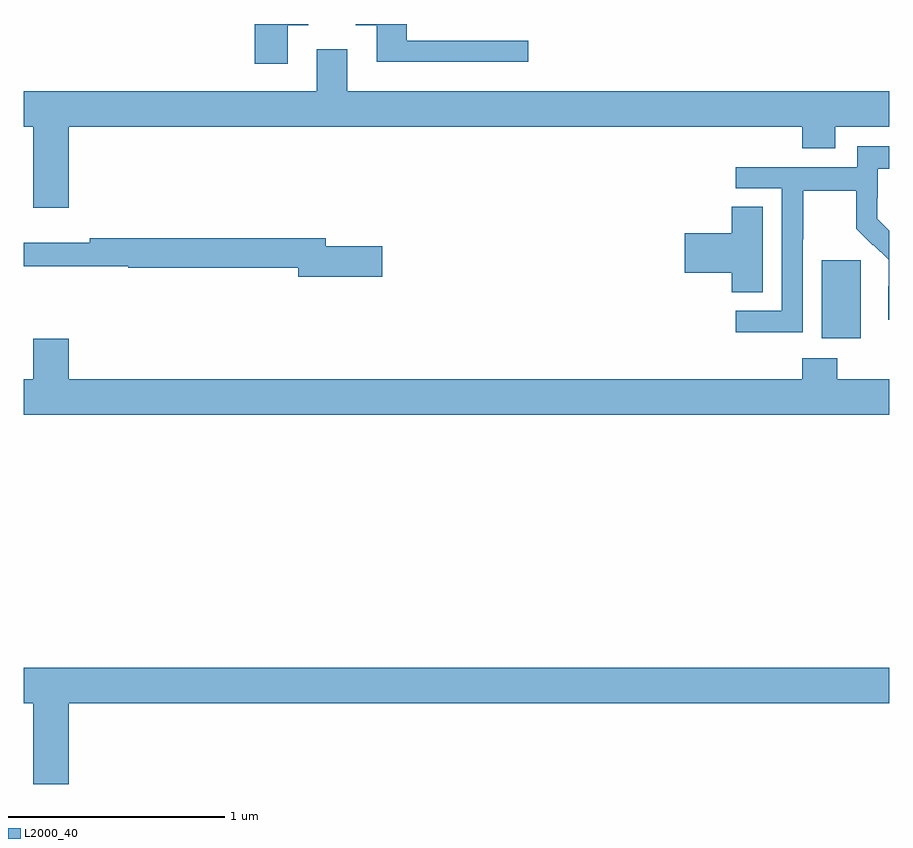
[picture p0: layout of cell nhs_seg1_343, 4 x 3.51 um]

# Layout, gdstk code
import gdstk
lib = gdstk.Library(unit=1e-6, precision=1e-09)
def R(c, l, rs):  # rectangles x0, y0, x1, y1
    for r in rs: c.add(gdstk.rectangle(r[:2], r[2:], *l))
def P(c, l, *ps):  # polygons
    for p in ps: c.add(gdstk.Polygon(p, *l))
L2000_40 = (2000, 40)

nhs_seg1_343 = lib.new_cell('nhs_seg1_343')
R(nhs_seg1_343, L2000_40, [(132.689,558.746,132.868,559.107)])
P(nhs_seg1_343, L2000_40, [(130.219,560.193),(130.315,560.193),(130.315,560.199),(130.067,560.199),(130.067,560.016),(130.219,560.016)],
  [(131.332,560.121),(130.771,560.121),(130.771,560.199),(130.535,560.199),(130.535,560.193),(130.631,560.193),(130.631,560.024),(131.332,560.024)],
  [(129.208,559.724),(132.599,559.724),(132.599,559.625),(132.751,559.625),(132.751,559.724),(133,559.724),(133,559.888),(130.495,559.888),(130.495,560.083),(130.355,560.083),(130.355,559.888),(129,559.888),(129,559.724),(129.044,559.724),(129.044,559.35),(129.208,559.35)],
  [(132.6,559.204),(132.603,559.204),(132.603,559.428),(132.847,559.428),(132.847,559.253),(132.924,559.176),(132.927,559.179),(132.998,559.109),(132.998,558.986),(132.996,558.986),(132.996,558.832),(133,558.832),(133,559.244),(132.946,559.298),(132.946,559.395),(132.948,559.395),(132.948,559.529),(133,559.529),(133,559.633),(132.852,559.633),(132.852,559.536),(132.291,559.536),(132.291,559.44),(132.504,559.44),(132.504,558.873),(132.291,558.873),(132.291,558.775),(132.6,558.775)],
  [(132.415,559.355),(132.272,559.355),(132.272,559.232),(132.054,559.232),(132.054,559.049),(132.272,559.049),(132.272,558.958),(132.415,558.958)],
  [(130.657,559.172),(130.396,559.172),(130.396,559.208),(129.304,559.208),(129.304,559.189),(129,559.189),(129,559.08),(129.483,559.08),(129.483,559.072),(130.268,559.072),(130.268,559.03),(130.657,559.03)],
  [(133,558.556),(132.759,558.556),(132.759,558.655),(132.599,558.655),(132.599,558.556),(129.208,558.556),(129.208,558.745),(129.044,558.745),(129.044,558.556),(129,558.556),(129,558.392),(133,558.392)],
  [(129.208,557.06),(133,557.06),(133,557.224),(129,557.224),(129,557.06),(129.044,557.06),(129.044,556.686),(129.208,556.686)])

lib.write_gds('nhs_seg1_343.gds')
